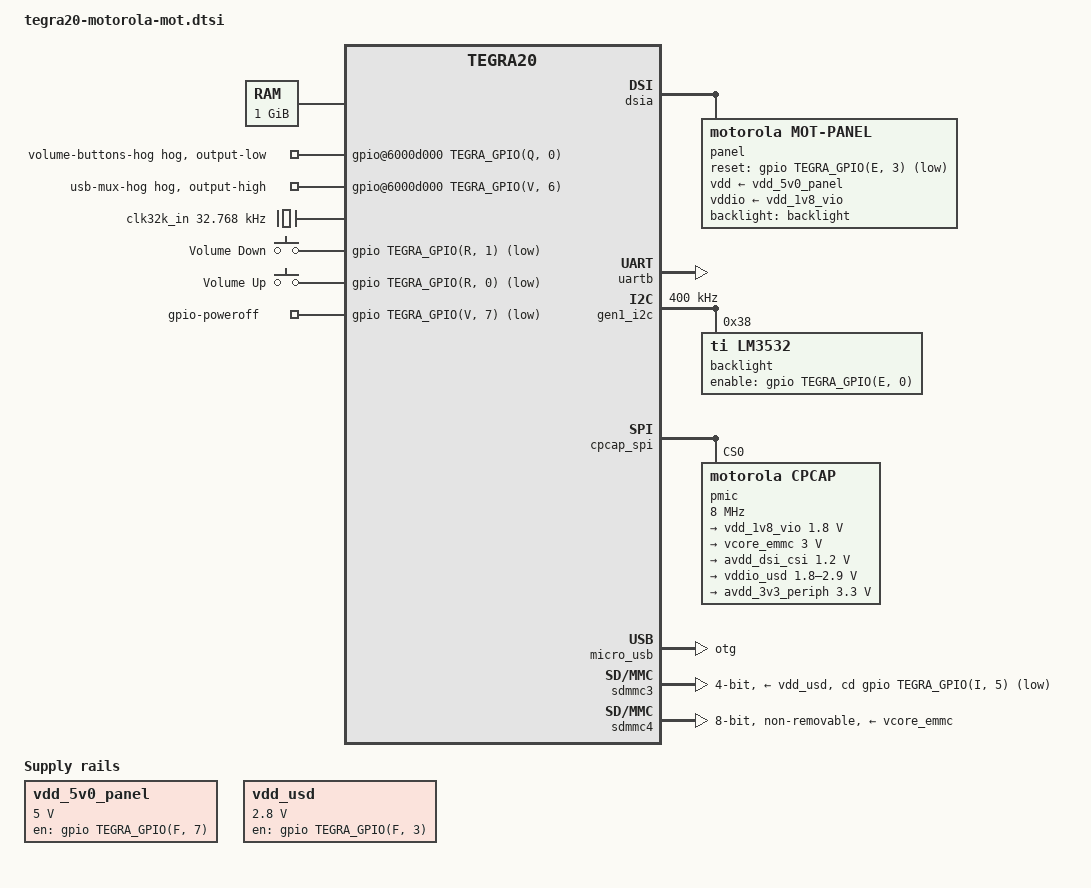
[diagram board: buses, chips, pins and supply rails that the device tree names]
// SPDX-License-Identifier: GPL-2.0

#include <dt-bindings/input/input.h>
#include "tegra20.dtsi"

/ {
	chosen {
		stdout-path = &uartb;
	};

	aliases {
		i2c0 = &gen1_i2c;

		spi0 = &cpcap_spi;

		mmc0 = &sdmmc4;	/* eMMC */
		mmc1 = &sdmmc3; /* uSD slot */

		rtc1 = "/rtc@7000e000";

		usb0 = &micro_usb;
	};

	memory {
		device_type = "memory";
		reg = <0x00000000 0x40000000>;
	};

	host1x@50000000 {
		dsia: dsi@54300000 {
			clocks = <&tegra_car TEGRA20_CLK_DSI>,
				 <&tegra_car TEGRA20_CLK_PLL_D_OUT0>;
			clock-names = "dsi", "parent";
			status = "okay";

			avdd-dsi-csi-supply = <&avdd_dsi_csi>;

			panel {
				compatible = "motorola,mot-panel";

				reset-gpios = <&gpio TEGRA_GPIO(E, 3) GPIO_ACTIVE_LOW>;

				vdd-supply = <&vdd_5v0_panel>;
				vddio-supply = <&vdd_1v8_vio>;

				backlight = <&backlight>;
			};
		};
	};

	gpio@6000d000 {
		volume-buttons-hog {
			gpio-hog;
			gpios = <TEGRA_GPIO(Q, 0) GPIO_ACTIVE_HIGH>;
			output-low;
		};

		usb-mux-hog {
			gpio-hog;
			gpios = <TEGRA_GPIO(V, 6) GPIO_ACTIVE_HIGH>;
			output-high;
		};
	};

	bsev@6001b000 {
		status = "okay";
	};

	pinmux@70000014 {
		pinctrl-names = "default";
		pinctrl-0 = <&state_default>;

		state_default: pinmux {
			crt {
				nvidia,pins = "crtp";
				nvidia,function = "crt";
			};

			dap1 {
				nvidia,pins = "dap1";
				nvidia,function = "dap1";
			};

			dap2 {
				nvidia,pins = "dap2";
				nvidia,function = "dap2";
			};

			dap3 {
				nvidia,pins = "dap3";
				nvidia,function = "dap3";
			};

			dap4 {
				nvidia,pins = "dap4";
				nvidia,function = "dap4";
			};

			displaya {
				nvidia,pins = "lcsn", "ld0", "ld1", "ld3",
					      "ld5", "ld6", "ld7", "ld8",
					      "ld9", "ld12", "ld13", "ld14",
					      "ld15", "ld16", "ld17", "ldi",
					      "lhp0", "lhp1", "lhp2", "lhs",
					      "lpp", "lsc0", "lpw1", "lsda",
					      "lspi";
				nvidia,function = "displaya";
			};

			gmi {
				nvidia,pins = "ata", "atc", "atd", "ate",
					      "gmb", "gmd", "gpu";
				nvidia,function = "gmi";
			};

			hdmi {
				nvidia,pins = "hdint";
				nvidia,function = "hdmi";
			};

			i2c1 {
				nvidia,pins = "i2cp", "rm";
				nvidia,function = "i2c1";
			};

			i2c2 {
				nvidia,pins = "ddc";
				nvidia,function = "i2c2";
			};

			i2c3 {
				nvidia,pins = "dtf";
				nvidia,function = "i2c3";
			};

			kbc {
				nvidia,pins = "kbca", "kbcb", "kbcc", "kbcd",
					      "kbce", "kbcf";
				nvidia,function = "kbc";
			};

			osc {
				nvidia,pins = "cdev1", "cdev2";
				nvidia,function = "osc";
			};

			owr {
				nvidia,pins = "owc", "uac";
				nvidia,function = "owr";
			};

			pcie {
				nvidia,pins = "gpv";
				nvidia,function = "pcie";
			};

			pwr-on {
				nvidia,pins = "pmc";
				nvidia,function = "pwr_on";
			};

			rsvd4 {
				nvidia,pins = "lvp0", "lvp1", "lvs", "lsc0",
					      "ld10", "ld11", "lm1", "ld2",
					      "ld4", "ldc";
				nvidia,function = "rsvd4";
			};

			rtck {
				nvidia,pins = "gpu7";
				nvidia,function = "rtck";
			};

			sdio1 {
				nvidia,pins = "sdio1";
				nvidia,function = "sdio1";
			};

			sdio3 {
				nvidia,pins = "sdb", "sdc", "sdd";
				nvidia,function = "sdio3";
			};

			sdio4 {
				nvidia,pins = "atb", "gma", "gme";
				nvidia,function = "sdio4";
			};

			spdif {
				nvidia,pins = "slxc", "slxd";
				nvidia,function = "spdif";
			};

			spi1 {
				nvidia,pins = "spid", "spie", "spif";
				nvidia,function = "spi1";
			};

			spi2 {
				nvidia,pins = "spia", "spib", "spic", "spig",
					      "spih";
				nvidia,function = "spi2";
			};

			spi3 {
				nvidia,pins = "lm0", "lpw0", "lpw2", "lsc1";
				nvidia,function = "spi3";
			};

			uarta {
				nvidia,pins = "irrx", "irtx";
				nvidia,function = "uarta";
			};

			uartc {
				nvidia,pins = "uca", "ucb";
				nvidia,function = "uartc";
			};

			uartd {
				nvidia,pins = "gmc";
				nvidia,function = "uartd";
			};

			ulpi {
				nvidia,pins = "uab";
				nvidia,function = "ulpi";
			};

			vi {
				nvidia,pins = "dta", "dtb", "dtc", "dtd",
					      "dte";
				nvidia,function = "vi";
			};

			vi-sensor-clk {
				nvidia,pins = "csus";
				nvidia,function = "vi_sensor_clk";
			};

			conf-lcsn {
				nvidia,pins = "lcsn", "lpw1", "lsck", "lsda",
					      "lsdi", "ldc";
				nvidia,pull = <TEGRA_PIN_PULL_UP>;
				nvidia,tristate = <TEGRA_PIN_ENABLE>;
			};

			conf-ata {
				nvidia,pins = "ata", "atb", "atc", "ddc",
					      "gmc", "gpu", "kbca", "kbcb",
					      "kbcc", "kbcd", "kbce", "kbcf",
					      "lm1", "lvp0", "owc", "sdb",
					      "sdc", "sdd", "sdio1", "uaa",
					      "uad", "uca", "ucb", "pmce",
					      "lvs";
				nvidia,pull = <TEGRA_PIN_PULL_UP>;
				nvidia,tristate = <TEGRA_PIN_DISABLE>;
			};

			conf-cdev1 {
				nvidia,pins = "cdev1", "crtp", "csus", "pta";
				nvidia,pull = <TEGRA_PIN_PULL_NONE>;
			};

			conf-atd {
				nvidia,pins = "atd", "ate", "cdev2", "dte",
					      "gma", "gmb", "gmd", "gme",
					      "gpu7", "gpv", "hdint", "i2cp",
					      "irrx", "irtx", "pmc", "rm",
					      "slxa",	"slxc", "slxd", "slxk",
					      "spdi", "spdo", "spid", "spie",
					      "spif", "uda", "ck32", "ddrc",
					      "pmca", "pmcb", "pmcc", "pmcd",
					      "xm2c", "xm2d";
				nvidia,pull = <TEGRA_PIN_PULL_NONE>;
				nvidia,tristate = <TEGRA_PIN_DISABLE>;
			};

			conf-ld0 {
				nvidia,pins = "ld0", "ld1", "ld2", "ld3",
					      "ld4", "ld5", "ld6", "ld7",
					      "ld8", "ld9", "ld10", "ld11",
					      "ld12", "ld13", "ld14", "ld15",
					      "ld16", "ld17", "ldi", "lhp0",
					      "lhp1", "lhp2", "lhs", "lm0",
					      "lpp", "lpw0", "lpw2", "lsc0",
					      "lsc1", "lspi", "lvp1";
				nvidia,tristate = <TEGRA_PIN_DISABLE>;
			};

			conf-dap1 {
				nvidia,pins = "dap1", "dap2", "dap3", "dap4";
				nvidia,pull = <TEGRA_PIN_PULL_DOWN>;
			};

			conf-dta {
				nvidia,pins = "dta", "dtb", "dtc", "dtd",
					      "dtf";
				nvidia,pull = <TEGRA_PIN_PULL_DOWN>;
				nvidia,tristate = <TEGRA_PIN_DISABLE>;
			};

			conf-spi2 {
				nvidia,pins = "spia", "spib", "spic", "spig",
					      "spih";
				nvidia,pull = <TEGRA_PIN_PULL_NONE>;
				nvidia,tristate = <TEGRA_PIN_DISABLE>;
			};
		};
	};

	uartb: serial@70006040 {
		clocks = <&tegra_car 7>;
		status = "okay";
	};

	gen1_i2c: i2c@7000c000 {
		status = "okay";
		clock-frequency = <400000>;

		backlight: led-controller@38 {
			compatible = "ti,lm3532";
			reg = <0x38>;

			enable-gpios = <&gpio TEGRA_GPIO(E, 0) GPIO_ACTIVE_HIGH>;

			#address-cells = <1>;
			#size-cells = <0>;

			backlight_led: led@0 {
				reg = <0>;

				led-sources = <2>;
				led-max-microamp = <26600>;

				ti,led-mode = <0>;
				ti,linear-mapping-mode;

				label = ":backlight";
			};
		};
	};

	cpcap_spi: spi@7000d600 {
		status = "okay";
		spi-max-frequency = <25000000>;

		pmic: cpcap@0 {
			compatible = "motorola,cpcap";
			reg = <0>;

			interrupt-controller;
			#interrupt-cells = <2>;

			spi-cs-high;
			spi-max-frequency = <8000000>;

			power_button: button {
				compatible = "motorola,cpcap-pwrbutton";

				interrupt-parent = <&pmic>;
				interrupts = <23 IRQ_TYPE_NONE>;

				linux,code = <KEY_ENTER>;
			};

			regulator {
				compatible = "motorola,mot-cpcap-regulator";

				regulators {
					/* SW1 is vdd_cpu */
					/* SW2 is vdd_core */

					vdd_1v8_vio: sw3 {
						regulator-name = "vdd_1v8_vio";
						regulator-min-microvolt = <1800000>;
						regulator-max-microvolt = <1800000>;
						regulator-always-on;
						regulator-boot-on;
					};

					/* SW4 is vdd_aon (rtc) */

					vcore_emmc: vsdio {
						regulator-name = "vcore_emmc";
						regulator-min-microvolt = <3000000>;
						regulator-max-microvolt = <3000000>;
						regulator-always-on;
						regulator-boot-on;
					};

					avdd_dsi_csi: vcsi {
						regulator-name = "avdd_dsi_csi";
						regulator-min-microvolt = <1200000>;
						regulator-max-microvolt = <1200000>;
						regulator-boot-on;
					};

					vddio_usd: vsimcard {
						regulator-name = "vddio_usd";
						regulator-min-microvolt = <1800000>;
						regulator-max-microvolt = <2900000>;
						regulator-boot-on;
					};

					avdd_3v3_periph: vusb {
						regulator-name = "avdd_usb";
						regulator-min-microvolt = <3300000>;
						regulator-max-microvolt = <3300000>;
						regulator-always-on;
						regulator-boot-on;
					};
				};
			};
		};
	};

	micro_usb: usb@c5000000 {
		status = "okay";
		dr_mode = "otg";
	};

	usb-phy@c5000000 {
		status = "okay";
		vbus-supply = <&avdd_3v3_periph>;
	};

	sdmmc3: sdhci@c8000400 {
		status = "okay";
		bus-width = <4>;

		cd-gpios = <&gpio TEGRA_GPIO(I, 5) GPIO_ACTIVE_LOW>;

		vmmc-supply = <&vdd_usd>;
		vqmmc-supply = <&vddio_usd>;
	};

	sdmmc4: sdhci@c8000600 {
		status = "okay";
		bus-width = <8>;
		non-removable;

		vmmc-supply = <&vcore_emmc>;
		vqmmc-supply = <&vdd_1v8_vio>;
	};

	/* 32KHz oscillator which is used by PMC */
	clk32k_in: clock-32k-in {
		compatible = "fixed-clock";
		#clock-cells = <0>;
		clock-frequency = <32768>;
		clock-output-names = "ref-oscillator";
	};

	gpio-keys {
		compatible = "gpio-keys";

		key-volume-down {
			label = "Volume Down";
			gpios = <&gpio TEGRA_GPIO(R, 1) GPIO_ACTIVE_LOW>;
			linux,code = <KEY_DOWN>;
		};

		key-volume-up {
			label = "Volume Up";
			gpios = <&gpio TEGRA_GPIO(R, 0) GPIO_ACTIVE_LOW>;
			linux,code = <KEY_UP>;
		};
	};

	gpio-poweroff {
		compatible = "gpio-poweroff";
		gpios = <&gpio TEGRA_GPIO(V, 7) GPIO_ACTIVE_LOW>;
		timeout-ms = <500>;
	};

	vdd_5v0_panel: regulator-panel {
		compatible = "regulator-fixed";
		regulator-name = "vdd_5v0_disp";
		regulator-min-microvolt = <5000000>;
		regulator-max-microvolt = <5000000>;
		gpio = <&gpio TEGRA_GPIO(F, 7) GPIO_ACTIVE_HIGH>;
		enable-active-high;
	};

	vdd_usd: regulator-usd {
		compatible = "regulator-fixed";
		regulator-name = "vdd_usd";
		regulator-min-microvolt = <2800000>;
		regulator-max-microvolt = <2800000>;
		gpio = <&gpio TEGRA_GPIO(F, 3) GPIO_ACTIVE_HIGH>;
		enable-active-high;
	};
};
